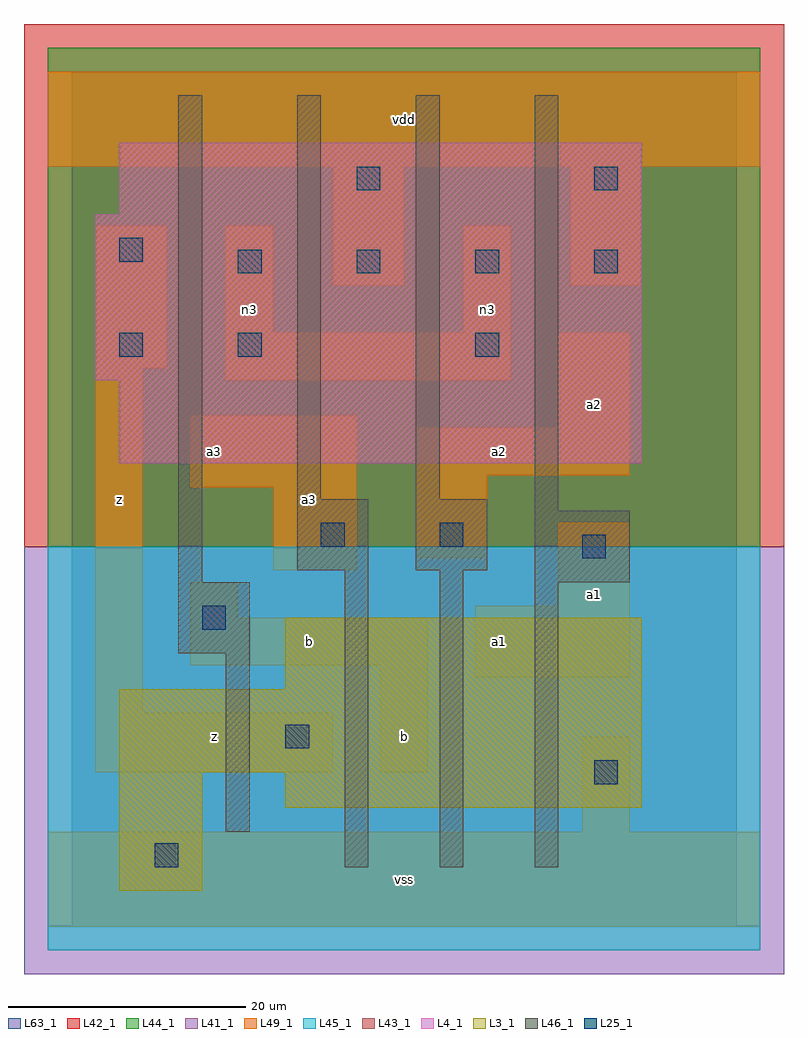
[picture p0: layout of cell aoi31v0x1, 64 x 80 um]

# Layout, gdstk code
import gdstk
lib = gdstk.Library(unit=1e-6, precision=1e-09)
def R(c, l, rs):  # rectangles x0, y0, x1, y1
    for r in rs: c.add(gdstk.rectangle(r[:2], r[2:], *l))
def A(c, l, x, y, w, h, nx, ny, dx, dy):  # array of equal rectangles
    R(c, l, [(x+i*dx, y+j*dy, x+i*dx+w, y+j*dy+h) for i in range(nx) for j in range(ny)])
L3_1 = (3, 1)
L4_1 = (4, 1)
L25_1 = (25, 1)
L41_1 = (41, 1)
L42_1 = (42, 1)
L43_1 = (43, 1)
L44_1 = (44, 1)
L45_1 = (45, 1)
L46_1 = (46, 1)
L49_1 = (49, 1)
L63_1 = (63, 1)

aoi31v0x1 = lib.new_cell('aoi31v0x1')
R(aoi31v0x1, L3_1, [(4,3,11,13), (18,10,48,13), (4,13,48,20), (18,20,48,26)])
R(aoi31v0x1, L4_1, [(4,39,48,46), (2,46,48,60), (4,60,48,66)])
A(aoi31v0x1, L25_1, 14, 55, 2, 2, 4, 1, 10, 0)
R(aoi31v0x1, L25_1, [(7,5,9,7), (44,12,46,14), (18,15,20,17), (11,25,13,27), (43,31,45,33), (21,32,23,34), (31,32,33,34), (4,48,6,50), (14,48,16,50), (34,48,36,50), (4,56,6,58), (24,62,26,64), (44,62,46,64)])
R(aoi31v0x1, L41_1, [(-4,-4,60,32)])
R(aoi31v0x1, L42_1, [(-4,32,60,76)])
R(aoi31v0x1, L43_1, [(4,3,11,13), (18,10,48,13), (4,13,48,20), (18,20,48,26), (4,39,48,46), (2,46,48,60), (4,60,48,66)])
R(aoi31v0x1, L44_1, [(-2,32,58,74)])
R(aoi31v0x1, L45_1, [(-2,-2,58,32)])
R(aoi31v0x1, L46_1, [(23,5,25,30), (31,5,33,30), (39,5,41,29), (13,8,15,23), (9,23,15,29), (9,29,11,70), (39,29,47,35), (19,30,25,36), (29,30,35,36), (39,35,41,70), (19,36,21,70), (29,36,31,70)])
R(aoi31v0x1, L49_1, [(-2,0,58,8), (43,8,47,16), (2,13,22,18), (26,13,30,22), (2,18,6,47), (34,21,47,27), (10,22,30,26), (10,26,14,29), (41,27,47,34), (17,30,24,37), (29,31,35,38), (10,37,24,43), (29,38,47,42), (41,42,47,50), (13,46,37,50), (2,47,8,59), (13,50,17,59), (33,50,37,59), (22,54,28,64), (42,54,48,64), (-2,64,58,72)])
R(aoi31v0x1, L63_1, [(0,0,56,72)])
aoi31v0x1.add(gdstk.Label('z', (4,36), layer=49, texttype=1))
aoi31v0x1.add(gdstk.Label('z', (12,16), layer=49, texttype=1))
aoi31v0x1.add(gdstk.Label('b', (20,24), layer=49, texttype=1))
aoi31v0x1.add(gdstk.Label('a3', (20,36), layer=49, texttype=1))
aoi31v0x1.add(gdstk.Label('a3', (12,40), layer=49, texttype=1))
aoi31v0x1.add(gdstk.Label('n3', (15,52), layer=49, texttype=1))
aoi31v0x1.add(gdstk.Label('vss', (28,4), layer=49, texttype=1))
aoi31v0x1.add(gdstk.Label('b', (28,16), layer=49, texttype=1))
aoi31v0x1.add(gdstk.Label('a1', (36,24), layer=49, texttype=1))
aoi31v0x1.add(gdstk.Label('a2', (36,40), layer=49, texttype=1))
aoi31v0x1.add(gdstk.Label('n3', (35,52), layer=49, texttype=1))
aoi31v0x1.add(gdstk.Label('vdd', (28,68), layer=49, texttype=1))
aoi31v0x1.add(gdstk.Label('a1', (44,28), layer=49, texttype=1))
aoi31v0x1.add(gdstk.Label('a2', (44,44), layer=49, texttype=1))

lib.write_gds('aoi31v0x1.gds')
